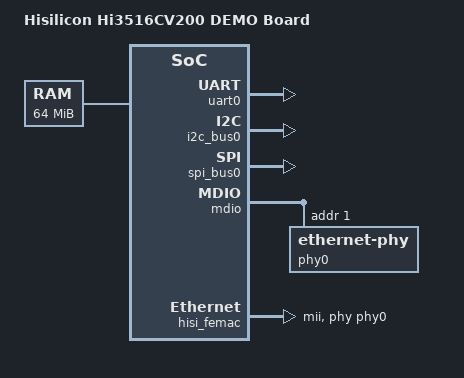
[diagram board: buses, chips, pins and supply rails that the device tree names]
// SPDX-License-Identifier: GPL-2.0-or-later
/*
 * Copyright (c) 2016 HiSilicon Technologies Co., Ltd.
 *
 * Hi3516CV200 DEMO Board (DEMB) reference DT.
 * Ported from the vendor 4.9 BSP arch/arm/boot/dts/hi3518ev20x-demb.dts.
 *
 * Production cameras pair this SoC with single MIPI sensors (IMX291,
 * SC2135, JXF22, etc.) at 1080p; reference board is a generic eval kit.
 */

/dts-v1/;
#include "hi3516cv200.dtsi"

/ {
	model = "Hisilicon Hi3516CV200 DEMO Board";
	compatible = "hisilicon,hi3516cv200";

	memory {
		device_type = "memory";
		/* 64 MiB DDR @ 0x80000000 — production cameras ship with
		 * 64 MiB total, kernel gets 32 MiB and the upper 32 MiB
		 * is reserved for the vendor MMZ media allocator (set via
		 * `mmz=` in the u-boot bootargs). */
		reg = <0x80000000 0x4000000>;
	};

	chosen {
		bootargs = "mem=32M console=ttyAMA0,115200 root=/dev/mtdblock3 rootfstype=squashfs init=/init";
		stdout-path = "serial0:115200n8";
	};
};

&uart0 {
	status = "okay";
};

&i2c_bus0 {
	status = "okay";
};

&spi_bus0 {
	status = "okay";
};

&mdio {
	phy0: ethernet-phy@1 {
		reg = <1>;
		/* Most cv200 reference boards use an Internal FE PHY at
		 * MII address 1. Production boards vary; production DT
		 * fragments can override via a board-specific overlay. */
	};
};

&hisi_femac {
	phy-handle = <&phy0>;
	phy-mode = "mii";
	status = "okay";
};
